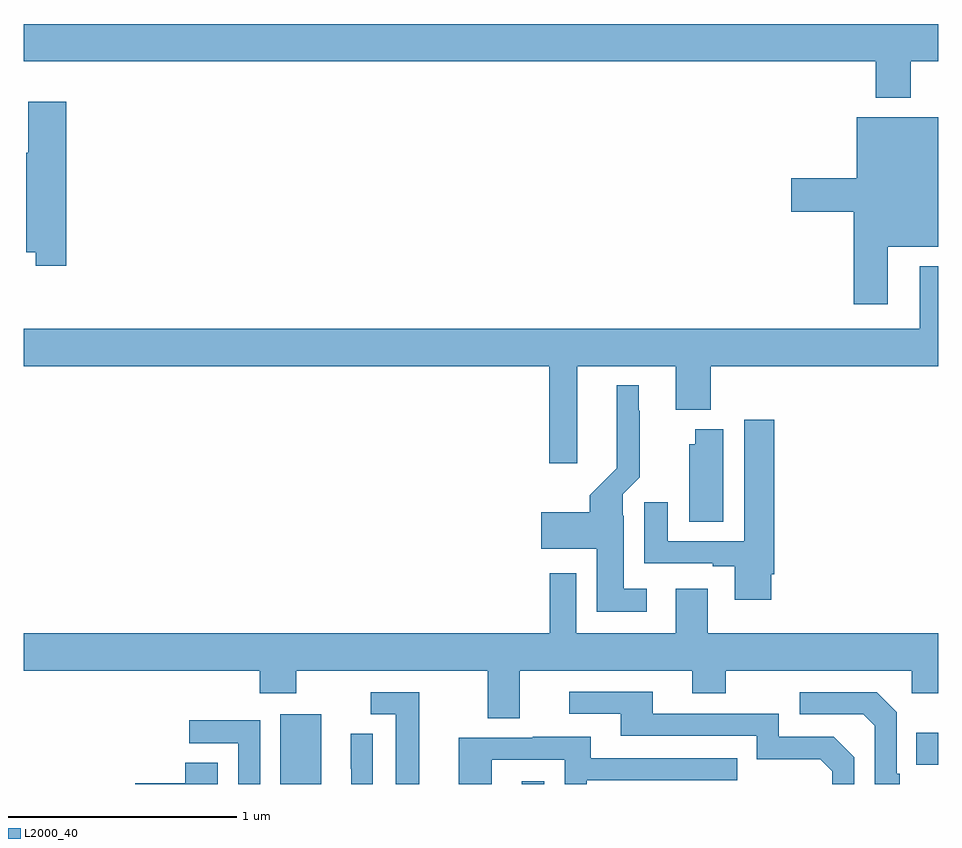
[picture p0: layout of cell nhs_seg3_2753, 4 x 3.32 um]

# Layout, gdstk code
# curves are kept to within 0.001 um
import gdstk
lib = gdstk.Library(unit=1e-6, precision=1e-09)
def R(c, l, rs):  # rectangles x0, y0, x1, y1
    for r in rs: c.add(gdstk.rectangle(r[:2], r[2:], *l))
def P(c, l, *ps):  # polygons
    for p in ps: c.add(gdstk.Polygon(p, *l))
L2000_40 = (2000, 40)

nhs_seg3_2753 = lib.new_cell('nhs_seg3_2753')
R(nhs_seg3_2753, L2000_40, [(254.123,720.4,254.302,720.706), (255.179,720.4,255.276,720.412), (256.903,720.485,257,720.625)])
P(nhs_seg3_2753, L2000_40, [(256.879,723.56),(257,723.56),(257,723.724),(253,723.724),(253,723.56),(256.727,723.56),(256.727,723.401),(256.879,723.401)],
  [(253.187,723.385),(253.019,723.385),(253.019,723.161),(253.012,723.161),(253.012,722.726),(253.052,722.726),(253.052,722.667),(253.187,722.667)],
  [(256.78,722.75),(257,722.75),(257,723.316),(256.643,723.316),(256.643,723.05),(256.356,723.05),(256.356,722.903),(256.631,722.903),(256.631,722.499),(256.78,722.499)],
  [(255.421,722.228),(255.851,722.228),(255.851,722.036),(256.004,722.036),(256.004,722.228),(257,722.228),(257,722.665),(256.919,722.665),(256.919,722.392),(253,722.392),(253,722.228),(255.299,722.228),(255.299,721.803),(255.421,721.803)],
  [(255.724,721.255),(255.625,721.255),(255.625,721.574),(255.621,721.574),(255.621,721.668),(255.695,721.742),(255.695,722.033),(255.691,722.033),(255.691,722.143),(255.593,722.143),(255.594,721.78),(255.476,721.662),(255.476,721.588),(255.264,721.588),(255.264,721.43),(255.506,721.43),(255.506,721.154),(255.724,721.154)],
  [(256.27,721.318),(256.283,721.318),(256.283,721.993),(256.151,721.993),(256.151,721.461),(255.817,721.461),(255.817,721.633),(255.713,721.633),(255.713,721.365),(256.013,721.365),(256.013,721.353),(256.109,721.353),(256.109,721.206),(256.27,721.206)],
  [(256.06,721.951),(255.938,721.951),(255.938,721.887),(255.911,721.887),(255.911,721.546),(256.06,721.546)],
  [(255.169,720.896),(255.923,720.896),(255.923,720.797),(256.071,720.797),(256.071,720.896),(256.884,720.896),(256.884,720.797),(257,720.797),(257,721.06),(255.991,721.06),(255.991,721.255),(255.851,721.255),(255.851,721.06),(255.417,721.06),(255.417,721.321),(255.301,721.321),(255.301,721.06),(253,721.06),(253,720.896),(254.033,720.896),(254.033,720.797),(254.193,720.797),(254.193,720.896),(255.029,720.896),(255.029,720.688),(255.169,720.688)],
  [(256.632,720.516),(256.542,720.606),(256.302,720.606),(256.302,720.708),(255.751,720.708),(255.751,720.804),(255.387,720.804),(255.387,720.708),(255.611,720.708),(255.611,720.612),(256.206,720.612),(256.206,720.509),(256.483,720.509),(256.536,720.456),(256.536,720.4),(256.632,720.4)],
  [(256.831,720.445),(256.818,720.445),(256.818,720.714),(256.731,720.801),(256.395,720.801),(256.395,720.705),(256.671,720.705),(256.722,720.654),(256.722,720.4),(256.831,720.4)],
  [(254.731,720.801),(254.517,720.801),(254.517,720.705),(254.627,720.705),(254.627,720.4),(254.731,720.4)],
  [(254.034,720.678),(253.725,720.678),(253.725,720.579),(253.938,720.579),(253.938,720.4),(254.034,720.4)],
  [(254.526,720.62),(254.43,720.62),(254.43,720.466),(254.432,720.466),(254.432,720.4),(254.526,720.4)],
  [(255.048,720.507),(255.366,720.507),(255.366,720.4),(255.462,720.4),(255.462,720.417),(256.121,720.417),(256.121,720.513),(255.481,720.513),(255.481,720.607),(255.227,720.607),(255.227,720.603),(254.903,720.603),(254.903,720.4),(255.048,720.4)],
  [(253.849,720.494),(253.706,720.494),(253.706,720.404),(253.488,720.404),(253.488,720.4),(253.849,720.4)])

lib.write_gds('nhs_seg3_2753.gds')
